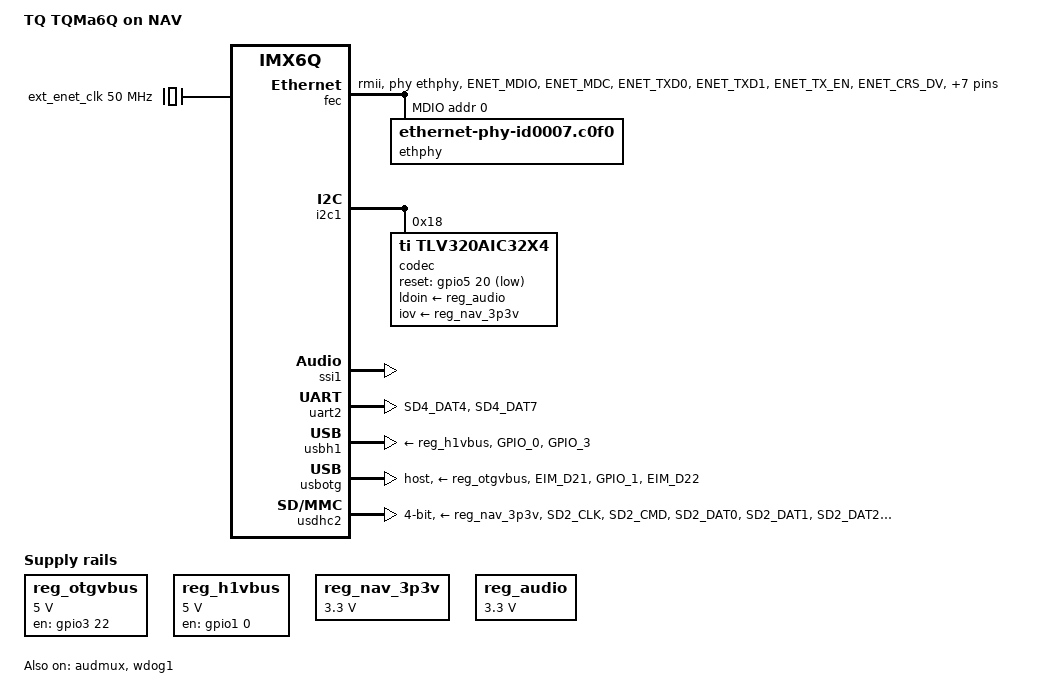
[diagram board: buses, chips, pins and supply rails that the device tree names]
/*
 * Copyright 2015 Markus Niebel TQ Systems GmbH
 *
 * The code contained herein is licensed under the GNU General Public
 * License. You may obtain a copy of the GNU General Public License
 * Version 2 or later at the following locations:
 *
 * http://www.opensource.org/licenses/gpl-license.html
 * http://www.gnu.org/copyleft/gpl.html
 */
/dts-v1/;

#include <dt-bindings/gpio/gpio.h>
#include "imx6q-tqma6a.dtsi"

#include <dt-bindings/sound/fsl-imx-audmux.h>

/ {
	model = "TQ TQMa6Q on NAV";
	compatible = "tq,nav", "tq,tqma6q", "fsl,imx6q";

	aliases {
		mmc1 = &usdhc2;
		mmc0 = &usdhc3;

		mxcfb0 = &mxcfb1;
		mxcfb1 = &mxcfb2;
		mxcfb2 = &mxcfb3;
		mxcfb3 = &mxcfb4;
	};

	chosen {
		linux,stdout-path = &uart2;
		stdout-path = &uart2;
	};

	clocks {
		ext_enet_clk: enet_refclk {
			compatible = "fixed-clock";
			#clock-cells = <0>;
			clock-frequency = <50000000>; /* 50 MHz */
			clock-output-names = "ext_enet_clk";
		};
	};

	mxcfb1: fb@0 {
		compatible = "fsl,mxc_sdc_fb";
		disp_dev = "ldb";
		interface_pix_fmt = "RGB24";
		default_bpp = <16>;
		int_clk = <0>;
		late_init = <0>;
		status = "disabled";
	};

	mxcfb2: fb@1 {
		compatible = "fsl,mxc_sdc_fb";
		disp_dev = "hdmi";
		interface_pix_fmt = "RGB24";
		mode_str ="1920x1080M@60";
		default_bpp = <24>;
		int_clk = <0>;
		late_init = <0>;
		status = "disabled";
	};

	mxcfb3: fb@2 {
		compatible = "fsl,mxc_sdc_fb";
		disp_dev = "lcd";
		interface_pix_fmt = "RGB565";
		mode_str ="CLAA-WVGA";
		default_bpp = <16>;
		int_clk = <0>;
		late_init = <0>;
		status = "disabled";
	};

	mxcfb4: fb@3 {
		compatible = "fsl,mxc_sdc_fb";
		disp_dev = "ldb";
		interface_pix_fmt = "RGB666";
		default_bpp = <16>;
		int_clk = <0>;
		late_init = <0>;
		status = "disabled";
	};

	regulators {
		reg_otgvbus: regulator@1 {
			compatible = "regulator-fixed";
			reg = <1>;
			regulator-name = "otg-vbus-supply";
			regulator-min-microvolt = <5000000>;
			regulator-max-microvolt = <5000000>;
			gpio = <&gpio3 22 GPIO_ACTIVE_HIGH>;
			enable-active-high;
			vin_supply = <&reg_3p3v>;
		};

		reg_h1vbus: regulator@2 {
			compatible = "regulator-fixed";
			reg = <2>;
			regulator-name = "h1-vbus-supply";
			regulator-min-microvolt = <5000000>;
			regulator-max-microvolt = <5000000>;
			gpio = <&gpio1 0 GPIO_ACTIVE_HIGH>;
			enable-active-high;
			vin_supply = <&reg_3p3v>;
		};

		reg_nav_3p3v: regulator@3 {
			compatible = "regulator-fixed";
			regulator-name = "supply-nav-3p3v";
			reg = <3>;
			regulator-min-microvolt = <3300000>;
			regulator-max-microvolt = <3300000>;
			regulator-always-on;
		};

		reg_audio: regulator@4 {
			compatible = "regulator-fixed";
			reg = <4>;
			regulator-name = "vcc3v3-audio";
			regulator-min-microvolt = <3300000>;
			regulator-max-microvolt = <3300000>;
		};
	};

	sound {
		compatible = "fsl,imx6-tqma6x-tlv320aic32x4",
			     "fsl,imx-audio-tlv320aic32x4";
		pinctrl-names = "default";
		pinctrl-0 = <&pinctrl_audmux>;
		model = "imx6-tqma6x-tlv320aic32";
		ssi-controller = <&ssi1>;
		audio-codec = <&codec>;
		mux-int-port = <1>;
		mux-ext-port = <3>;
	};

	v4l2_out {
		compatible = "fsl,mxc_v4l2_output";
		status = "okay";
	};
};

&audmux {
	status = "okay";

	ssi0 {
		fsl,audmux-port = <MX31_AUDMUX_PORT1_SSI0>;
		fsl,port-config = <
			(IMX_AUDMUX_V2_PTCR_SYN |
				IMX_AUDMUX_V2_PTCR_TFSDIR |
				IMX_AUDMUX_V2_PTCR_TFSEL(MX31_AUDMUX_PORT3_SSI_PINS_3) |
				IMX_AUDMUX_V2_PTCR_TCLKDIR |
				IMX_AUDMUX_V2_PTCR_TCSEL(MX31_AUDMUX_PORT3_SSI_PINS_3))
			IMX_AUDMUX_V2_PDCR_RXDSEL(MX31_AUDMUX_PORT3_SSI_PINS_3)
		>;
	};

	aud3 {
		fsl,audmux-port = <MX31_AUDMUX_PORT3_SSI_PINS_3>;
		fsl,port-config = <
			IMX_AUDMUX_V2_PTCR_SYN
			IMX_AUDMUX_V2_PDCR_RXDSEL(MX31_AUDMUX_PORT1_SSI0)
		>;
	};
};

&ecspi1 {
	status = "disabled";
};

&fec {
	pinctrl-names = "default";
	pinctrl-0 = <&pinctrl_enet>;
	interrupts-extended = <&gpio1 6 IRQ_TYPE_LEVEL_HIGH>,
			      <&intc 0 119 IRQ_TYPE_LEVEL_HIGH>;
	phy-mode = "rmii";
	phy-reset-gpios = <&gpio1 25 GPIO_ACTIVE_LOW>;
	phy-reset-duration = <1>;
	mac-address = [00 00 00 00 00 00];
	local-mac-address = [00 00 00 00 00 00];
	phy-handle = <&ethphy>;
	clocks = <&clks IMX6QDL_CLK_ENET>, <&clks IMX6QDL_CLK_ENET>,
		 <&ext_enet_clk 0>;
	status = "okay";

	mdio {
		#address-cells = <1>;
		#size-cells = <0>;

		ethphy: ethernet-phy@0 {
			compatible = "ethernet-phy-id0007.c0f0",
				     "ethernet-phy-ieee802.3-c22";
			reg = <0>;
			max-speed = <100>;
		};
	};
};

&i2c1 {
	codec: tlv320aic32x4@18 {
		compatible = "ti,tlv320aic32x4";
		reg = <0x18>;
		clocks = <&clks IMX6QDL_CLK_CKO>;
		clock-names = "mclk";
		pinctrl-names = "default";
		pinctrl-0 = <&pinctrl_codec>;
		ldoin-supply = <&reg_audio>;
		iov-supply = <&reg_nav_3p3v>;
		reset-gpios = <&gpio5 20 GPIO_ACTIVE_LOW>;
	};
};

&iomuxc {
	pinctrl-names = "default";
	pinctrl-0 = <&pinctrl_hog>;

	imx6q-nav {
		pinctrl_audmux: audmuxgrp {
			fsl,pins = <
				MX6QDL_PAD_CSI0_DAT7__AUD3_RXD  0x1b0b0
				MX6QDL_PAD_CSI0_DAT4__AUD3_TXC  0x1b0b0
				MX6QDL_PAD_CSI0_DAT5__AUD3_TXD  0x1b018
				MX6QDL_PAD_CSI0_DAT6__AUD3_TXFS 0x1b0b0
			>;
		};

		pinctrl_codec: codecgrp {
			fsl,pins = <
				/* CLK */
				MX6QDL_PAD_CSI0_MCLK__CCM_CLKO1		0x18
				/* RESET */
				MX6QDL_PAD_CSI0_DATA_EN__GPIO5_IO20	0x4001b099
			>;
		};

		pinctrl_enet: enetgrp {
			fsl,pins = <
				/* DSE = 100, 100k up, SPEED = MED */
				MX6QDL_PAD_ENET_MDIO__ENET_MDIO		0xb0a0
				MX6QDL_PAD_ENET_MDC__ENET_MDC		0xb0a0

				MX6QDL_PAD_ENET_TXD0__ENET_TX_DATA0	0x0000b098
				MX6QDL_PAD_ENET_TXD1__ENET_TX_DATA1	0x0000b098
				MX6QDL_PAD_ENET_TX_EN__ENET_TX_EN	0x0000b098
				MX6QDL_PAD_ENET_CRS_DV__ENET_RX_EN	0x00000098
				MX6QDL_PAD_ENET_RXD0__ENET_RX_DATA0	0x00000098
				MX6QDL_PAD_ENET_RXD1__ENET_RX_DATA1	0x00000098
				MX6QDL_PAD_ENET_RX_ER__ENET_RX_ER	0x00000098

				MX6QDL_PAD_GPIO_16__ENET_REF_CLK	0x0000b098
				/* phy reset */
				MX6QDL_PAD_GPIO_7__GPIO1_IO07		0x4001b099
				/* ENET ping patch */
				MX6QDL_PAD_GPIO_6__ENET_IRQ		0x000b1
			>;
		};

		pinctrl_hog: hoggrp {
			fsl,pins = <
				/* testpoint gpio */
				MX6QDL_PAD_DISP0_DAT17__GPIO5_IO11	0x0001b099
				MX6QDL_PAD_DISP0_DAT19__GPIO5_IO13	0x0001b099
				/* revision detection */
				MX6QDL_PAD_EIM_CS1__GPIO2_IO24		0x0001b099
				MX6QDL_PAD_EIM_OE__GPIO2_IO25		0x0001b099
				MX6QDL_PAD_EIM_D27__GPIO3_IO27		0x0001b099
				MX6QDL_PAD_EIM_D29__GPIO3_IO29		0x0001b099
				/* IR sender */
				MX6QDL_PAD_NANDF_CLE__GPIO6_IO07	0x0001b099
				/* zero credit */
				MX6QDL_PAD_SD4_DAT3__GPIO2_IO11		0x0001b099
			>;
		};

		pinctrl_uart2: uart2grp {
			fsl,pins = <
				MX6QDL_PAD_SD4_DAT4__UART2_RX_DATA 0x1b099
				MX6QDL_PAD_SD4_DAT7__UART2_TX_DATA 0x1b099
			>;
		};

		pinctrl_usdhc2: usdhc2grp {
			fsl,pins = <
				/* CLK: 47k Pup SPD_LOW DSE 40Ohm SRE_FAST HYS */
				MX6QDL_PAD_SD2_CLK__SD2_CLK    0x00017071
				/* SD2: 47k Pup SPD_LOW DSE 80Ohm SRE_FAST HYS */
				MX6QDL_PAD_SD2_CMD__SD2_CMD    0x00017059
				MX6QDL_PAD_SD2_DAT0__SD2_DATA0 0x00017059
				MX6QDL_PAD_SD2_DAT1__SD2_DATA1 0x00017059
				MX6QDL_PAD_SD2_DAT2__SD2_DATA2 0x00017059
				MX6QDL_PAD_SD2_DAT3__SD2_DATA3 0x00017059

				MX6QDL_PAD_GPIO_4__GPIO1_IO04  0x0001b099 /* usdhc2 CD */
				MX6QDL_PAD_GPIO_2__GPIO1_IO02  0x0001b099 /* usdhc2 WP */
			>;
		};

		pinctrl_usbh1: usbh1grp {
			fsl,pins = <
				MX6QDL_PAD_GPIO_0__GPIO1_IO00  0x0001b099
				MX6QDL_PAD_GPIO_3__USB_H1_OC   0x0001b0b0
			>;
		};

		pinctrl_usbotg: usbotggrp {
			fsl,pins = <
				MX6QDL_PAD_EIM_D21__USB_OTG_OC 0x0001b0b0
				MX6QDL_PAD_GPIO_1__USB_OTG_ID  0x00017059
				MX6QDL_PAD_EIM_D22__GPIO3_IO22 0x0001b099
			>;
		};
	};
};

&snvs_poweroff {
	status = "disabled";
};

&snvs_rtc {
	status = "disabled";
};

&ssi1 {
	fsl,mode = "i2s-slave";
	status = "okay";
};

&uart2 {
	pinctrl-names = "default";
	pinctrl-0 = <&pinctrl_uart2>;
	status = "okay";
};

&usbh1 {
	pinctrl-names = "default";
	pinctrl-0 = <&pinctrl_usbh1>;
	vbus-supply = <&reg_h1vbus>;
	status = "okay";
};

&usbotg {
	pinctrl-names = "default";
	pinctrl-0 = <&pinctrl_usbotg>;
	dr_mode = "host";
	otg_id_pin_select_change;
	vbus-supply = <&reg_otgvbus>;
	status = "okay";
};

&usdhc2 { /* Baseboard Slot */
	pinctrl-names = "default";
	pinctrl-0 = <&pinctrl_usdhc2>;
	vmmc-supply = <&reg_nav_3p3v>;
	bus-width = <4>;
	no-1-8-v;
	cd-gpios = <&gpio1 4 GPIO_ACTIVE_LOW>;
	wp-gpios = <&gpio1 2 GPIO_ACTIVE_HIGH>;
	status = "okay";
};

&wdog1 {
	status = "okay";
};
